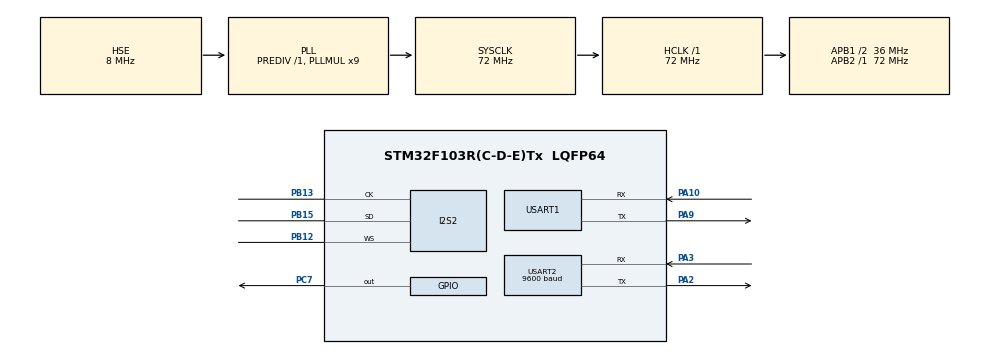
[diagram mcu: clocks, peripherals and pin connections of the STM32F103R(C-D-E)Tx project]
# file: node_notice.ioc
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I2S2.AudioFreq=I2S_AUDIOFREQ_16K
I2S2.ErrorAudioFreq=-0.26 %
I2S2.Instance=SPI$Index
I2S2.RealAudioFreq=15.957 KHz
I2S2.VirtualMode=I2S_MODE_MASTER
Mcu.Family=STM32F1
Mcu.Name=STM32F103R(C-D-E)Tx
Mcu.Package=LQFP64
NVIC.PriorityGroup=NVIC_PRIORITYGROUP_4
NVIC.USART2_IRQn=true\:0\:0\:false\:false\:true\:true\:true\:true
PA10.Mode=Asynchronous
PA10.Signal=USART1_RX
PA13.Mode=Serial_Wire
PA13.Signal=SYS_JTMS-SWDIO
PA14.Mode=Serial_Wire
PA14.Signal=SYS_JTCK-SWCLK
PA2.Mode=Asynchronous
PA2.Signal=USART2_TX
PA3.Mode=Asynchronous
PA3.Signal=USART2_RX
PA9.Mode=Asynchronous
PA9.Signal=USART1_TX
PB12.Mode=Half_Duplex_Master_TX
PB12.Signal=I2S2_WS
PB13.Mode=Half_Duplex_Master_TX
PB13.Signal=I2S2_CK
PB15.Mode=Half_Duplex_Master_TX
PB15.Signal=I2S2_SD
PC7.Signal=GPIO_Output
PD0-OSC_IN.Mode=HSE-External-Oscillator
PD0-OSC_IN.Signal=RCC_OSC_IN
PD1-OSC_OUT.Mode=HSE-External-Oscillator
PD1-OSC_OUT.Signal=RCC_OSC_OUT
ProjectManager.HeapSize=0x200
ProjectManager.StackSize=0x400
ProjectManager.TargetToolchain=STM32CubeIDE
RCC.AHBFreq_Value=72000000
RCC.APB1CLKDivider=RCC_HCLK_DIV2
RCC.APB1Freq_Value=36000000
RCC.APB1TimFreq_Value=72000000
RCC.APB2Freq_Value=72000000
RCC.APB2TimFreq_Value=72000000
RCC.HCLKFreq_Value=72000000
RCC.PLLMUL=RCC_PLL_MUL9
RCC.PLLSourceVirtual=RCC_PLLSOURCE_HSE
RCC.SYSCLKFreq_VALUE=72000000
RCC.SYSCLKSource=RCC_SYSCLKSOURCE_PLLCLK
RCC.USBFreq_Value=72000000
USART1.VirtualMode=VM_ASYNC
USART2.BaudRate=9600
USART2.Mode=MODE_RX
USART2.VirtualMode=VM_ASYNC
board=custom

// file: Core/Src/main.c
/* USER CODE BEGIN Header */
/**
  ******************************************************************************
  * @file           : main.c
  * @brief          : Main program body
  ******************************************************************************
  * @attention
  *
  * Copyright (c) 2026 STMicroelectronics.
  * All rights reserved.
  *
  * This software is licensed under terms that can be found in the LICENSE file
  * in the root directory of this software component.
  * If no LICENSE file comes with this software, it is provided AS-IS.
  *
  ******************************************************************************
  */
/* USER CODE END Header */
#include "main.h"

/* USER CODE BEGIN Includes */
#include "stm32f1xx_hal.h"
#include "stm32f1xx_hal_gpio.h"
#include "stm32f1xx_ll_gpio.h"
#include <stdint.h>
#include <stdio.h>
#include <main.h>
#include "wav.h"
/* USER CODE END Includes */

I2S_HandleTypeDef hi2s2;

UART_HandleTypeDef huart1;
UART_HandleTypeDef huart2;

/* USER CODE BEGIN PV */
uint8_t rx2;
/* USER CODE END PV */

void SystemClock_Config(void);
static void MX_GPIO_Init(void);
static void MX_I2S2_Init(void);
static void MX_USART1_UART_Init(void);
static void MX_USART2_UART_Init(void);

/* USER CODE BEGIN 0 */
int _write(int fd, char *ptr, int len){
  HAL_StatusTypeDef hstatus;
  if(fd == 1 || fd == 2){
    hstatus = HAL_UART_Transmit(&huart1, (uint8_t*)ptr, len, HAL_MAX_DELAY);
    return (hstatus == HAL_OK) ? len : -1;
  }
  return -1;
}

void HAL_UART_RxCpltCallback(UART_HandleTypeDef *huart)
{
    if (huart->Instance == USART2){
        printf("HC12 RX: %c\r\n", rx2);
        HAL_UART_Receive_IT(&huart2, &rx2, 1);
    }
}
/* USER CODE END 0 */

int main(void)
{

  /* MCU Configuration--------------------------------------------------------*/

  /* Reset of all peripherals, Initializes the Flash interface and the Systick. */
  HAL_Init();

  /* Configure the system clock */
  SystemClock_Config();

  /* Initialize all configured peripherals */
  MX_GPIO_Init();
  MX_I2S2_Init();
  MX_USART1_UART_Init();
  MX_USART2_UART_Init();
  /* USER CODE BEGIN 2 */
  HAL_UART_Receive_IT(&huart2, &rx2, 1);
  LL_GPIO_IsOutputPinSet(GPIOC, LL_GPIO_PIN_7);
  printf("STM32F103RCT6\r\n");
  // for (int i = 0; i < 128; i++){
  //   /* code */
  //   if(HAL_I2C_IsDeviceReady(&hi2c2, (uint16_t)(i << 1),  3, 5) == HAL_OK)
  //     printf("%2X ", i);
  //   else
  //     printf("-- ");
  //   if(i > 0 && (i + 1) % 16 == 0)
  //     printf("\r\n");
  // }
  HAL_I2S_Transmit(&hi2s2, (uint16_t*)wav, wav_len / 2, HAL_MAX_DELAY);
  // HAL_UART_Transmit(&huart2, (uint8_t*)("Nguyenduytung\r\n"), 15, HAL_MAX_DELAY);
  /* USER CODE END 2 */

  /* Infinite loop */
  while (1)
  {

    /* USER CODE BEGIN 3 */
    LL_GPIO_TogglePin(GPIOC, LL_GPIO_PIN_7);
    HAL_Delay(2000);
  }
  /* USER CODE END 3 */
}

void SystemClock_Config(void)
{
  RCC_OscInitTypeDef RCC_OscInitStruct = {0};
  RCC_ClkInitTypeDef RCC_ClkInitStruct = {0};
  RCC_PeriphCLKInitTypeDef PeriphClkInit = {0};

  /** Initializes the RCC Oscillators according to the specified parameters
  * in the RCC_OscInitTypeDef structure.
  */
  RCC_OscInitStruct.OscillatorType = RCC_OSCILLATORTYPE_HSE;
  RCC_OscInitStruct.HSEState = RCC_HSE_ON;
  RCC_OscInitStruct.HSEPredivValue = RCC_HSE_PREDIV_DIV1;
  RCC_OscInitStruct.HSIState = RCC_HSI_ON;
  RCC_OscInitStruct.PLL.PLLState = RCC_PLL_ON;
  RCC_OscInitStruct.PLL.PLLSource = RCC_PLLSOURCE_HSE;
  RCC_OscInitStruct.PLL.PLLMUL = RCC_PLL_MUL9;
  if (HAL_RCC_OscConfig(&RCC_OscInitStruct) != HAL_OK)
  {
    Error_Handler();
  }

  /** Initializes the CPU, AHB and APB buses clocks
  */
  RCC_ClkInitStruct.ClockType = RCC_CLOCKTYPE_HCLK|RCC_CLOCKTYPE_SYSCLK
                              |RCC_CLOCKTYPE_PCLK1|RCC_CLOCKTYPE_PCLK2;
  RCC_ClkInitStruct.SYSCLKSource = RCC_SYSCLKSOURCE_PLLCLK;
  RCC_ClkInitStruct.AHBCLKDivider = RCC_SYSCLK_DIV1;
  RCC_ClkInitStruct.APB1CLKDivider = RCC_HCLK_DIV2;
  RCC_ClkInitStruct.APB2CLKDivider = RCC_HCLK_DIV1;

  if (HAL_RCC_ClockConfig(&RCC_ClkInitStruct, FLASH_LATENCY_2) != HAL_OK)
  {
    Error_Handler();
  }
  PeriphClkInit.PeriphClockSelection = RCC_PERIPHCLK_I2S2;
  PeriphClkInit.I2s2ClockSelection = RCC_I2S2CLKSOURCE_SYSCLK;
  if (HAL_RCCEx_PeriphCLKConfig(&PeriphClkInit) != HAL_OK)
  {
    Error_Handler();
  }
}

static void MX_I2S2_Init(void)
{

  hi2s2.Instance = SPI2;
  hi2s2.Init.Mode = I2S_MODE_MASTER_TX;
  hi2s2.Init.Standard = I2S_STANDARD_PHILIPS;
  hi2s2.Init.DataFormat = I2S_DATAFORMAT_16B;
  hi2s2.Init.MCLKOutput = I2S_MCLKOUTPUT_DISABLE;
  hi2s2.Init.AudioFreq = I2S_AUDIOFREQ_16K;
  hi2s2.Init.CPOL = I2S_CPOL_LOW;
  if (HAL_I2S_Init(&hi2s2) != HAL_OK)
  {
    Error_Handler();
  }

}

static void MX_USART1_UART_Init(void)
{

  huart1.Instance = USART1;
  huart1.Init.BaudRate = 115200;
  huart1.Init.WordLength = UART_WORDLENGTH_8B;
  huart1.Init.StopBits = UART_STOPBITS_1;
  huart1.Init.Parity = UART_PARITY_NONE;
  huart1.Init.Mode = UART_MODE_TX_RX;
  huart1.Init.HwFlowCtl = UART_HWCONTROL_NONE;
  huart1.Init.OverSampling = UART_OVERSAMPLING_16;
  if (HAL_UART_Init(&huart1) != HAL_OK)
  {
    Error_Handler();
  }

}

static void MX_USART2_UART_Init(void)
{

  huart2.Instance = USART2;
  huart2.Init.BaudRate = 9600;
  huart2.Init.WordLength = UART_WORDLENGTH_8B;
  huart2.Init.StopBits = UART_STOPBITS_1;
  huart2.Init.Parity = UART_PARITY_NONE;
  huart2.Init.Mode = UART_MODE_RX;
  huart2.Init.HwFlowCtl = UART_HWCONTROL_NONE;
  huart2.Init.OverSampling = UART_OVERSAMPLING_16;
  if (HAL_UART_Init(&huart2) != HAL_OK)
  {
    Error_Handler();
  }

}

static void MX_GPIO_Init(void)
{
  GPIO_InitTypeDef GPIO_InitStruct = {0};

  /* GPIO Ports Clock Enable */
  __HAL_RCC_GPIOD_CLK_ENABLE();
  __HAL_RCC_GPIOA_CLK_ENABLE();
  __HAL_RCC_GPIOB_CLK_ENABLE();
  __HAL_RCC_GPIOC_CLK_ENABLE();

  /*Configure GPIO pin Output Level */
  HAL_GPIO_WritePin(GPIOC, GPIO_PIN_7, GPIO_PIN_RESET);

  /*Configure GPIO pin : PC7 */
  GPIO_InitStruct.Pin = GPIO_PIN_7;
  GPIO_InitStruct.Mode = GPIO_MODE_OUTPUT_PP;
  GPIO_InitStruct.Pull = GPIO_NOPULL;
  GPIO_InitStruct.Speed = GPIO_SPEED_FREQ_LOW;
  HAL_GPIO_Init(GPIOC, &GPIO_InitStruct);

}

void Error_Handler(void)
{
  __disable_irq();
  while (1)
  {
  }
}
